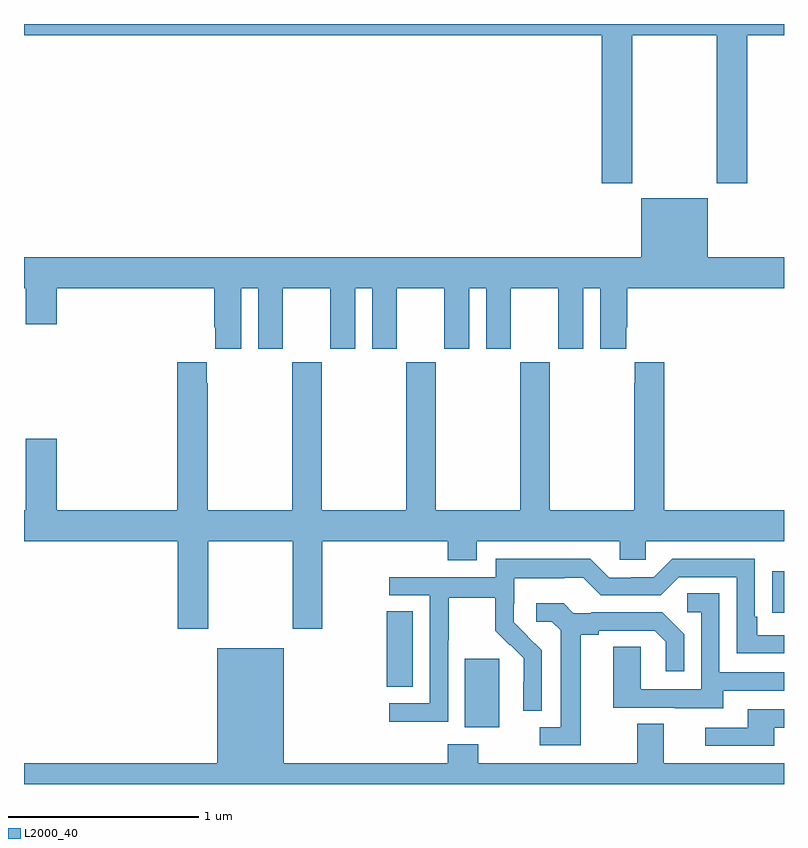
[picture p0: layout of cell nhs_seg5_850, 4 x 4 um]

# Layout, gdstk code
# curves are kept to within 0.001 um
import gdstk
lib = gdstk.Library(unit=1e-6, precision=1e-09)
def R(c, l, rs):  # rectangles x0, y0, x1, y1
    for r in rs: c.add(gdstk.rectangle(r[:2], r[2:], *l))
def P(c, l, *ps):  # polygons
    for p in ps: c.add(gdstk.Polygon(p, *l))
L2000_40 = (2000, 40)

nhs_seg5_850 = lib.new_cell('nhs_seg5_850')
R(nhs_seg5_850, L2000_40, [(167.321,873.098,167.5,873.459), (166.909,873.31,167.047,873.707), (168.937,873.7,169,873.919)])
P(nhs_seg5_850, L2000_40, [(168.201,876.74),(168.646,876.74),(168.646,875.961),(168.806,875.961),(168.806,876.74),(169,876.74),(169,876.799),(165,876.799),(165,876.74),(168.041,876.74),(168.041,875.961),(168.201,875.961)],
  [(166.144,875.408),(166.232,875.408),(166.232,875.091),(166.363,875.091),(166.363,875.408),(166.613,875.408),(166.613,875.091),(166.744,875.091),(166.744,875.408),(166.832,875.408),(166.832,875.091),(166.963,875.091),(166.963,875.408),(167.213,875.408),(167.213,875.091),(167.344,875.091),(167.344,875.408),(167.432,875.408),(167.432,875.091),(167.563,875.091),(167.563,875.408),(167.813,875.408),(167.813,875.091),(167.944,875.091),(167.944,875.408),(168.032,875.408),(168.032,875.091),(168.169,875.091),(168.169,875.203),(168.176,875.203),(168.176,875.408),(169,875.408),(169,875.572),(168.598,875.572),(168.598,875.881),(168.248,875.881),(168.248,875.572),(165,875.572),(165,875.408),(165.008,875.408),(165.008,875.22),(165.172,875.22),(165.172,875.408),(166.001,875.408),(166.001,875.203),(166.007,875.203),(166.007,875.091),(166.144,875.091)],
  [(165.969,874.076),(166.414,874.076),(166.414,873.615),(166.569,873.615),(166.569,874.076),(167.231,874.076),(167.231,873.977),(167.383,873.977),(167.383,874.076),(168.135,874.076),(168.135,873.978),(168.273,873.978),(168.273,874.076),(169,874.076),(169,874.24),(168.371,874.24),(168.371,875.02),(168.215,875.02),(168.215,874.907),(168.211,874.907),(168.211,874.24),(167.766,874.24),(167.766,875.02),(167.611,875.02),(167.611,874.24),(167.166,874.24),(167.166,875.02),(167.011,875.02),(167.011,874.24),(166.566,874.24),(166.566,875.02),(166.411,875.02),(166.411,874.24),(165.966,874.24),(165.966,874.907),(165.961,874.907),(165.961,875.02),(165.806,875.02),(165.806,874.24),(165.172,874.24),(165.172,874.615),(165.008,874.615),(165.008,874.24),(165,874.24),(165,874.076),(165.809,874.076),(165.809,873.615),(165.969,873.615)],
  [(167.232,873.556),(167.235,873.556),(167.235,873.78),(167.479,873.78),(167.479,873.605),(167.556,873.528),(167.559,873.531),(167.63,873.461),(167.63,873.338),(167.628,873.338),(167.628,873.184),(167.724,873.184),(167.724,873.502),(167.578,873.65),(167.578,873.747),(167.58,873.747),(167.58,873.881),(167.843,873.881),(167.843,873.885),(167.943,873.885),(168.036,873.792),(168.351,873.792),(168.447,873.888),(168.75,873.888),(168.75,873.486),(169,873.486),(169,873.582),(168.859,873.582),(168.859,873.679),(168.846,873.679),(168.846,873.984),(168.411,873.984),(168.315,873.888),(168.197,873.888),(168.197,873.885),(168.081,873.885),(167.981,873.985),(167.484,873.985),(167.484,873.888),(166.923,873.888),(166.923,873.792),(167.136,873.792),(167.136,873.225),(166.923,873.225),(166.923,873.127),(167.232,873.127)],
  [(168.679,873.291),(169,873.291),(169,873.387),(168.66,873.387),(168.66,873.803),(168.492,873.803),(168.492,873.702),(168.564,873.702),(168.564,873.297),(168.246,873.297),(168.246,873.521),(168.101,873.521),(168.101,873.201),(168.425,873.201),(168.425,873.197),(168.679,873.197)],
  [(167.929,873.584),(168.025,873.584),(168.025,873.606),(168.32,873.606),(168.377,873.549),(168.377,873.393),(168.474,873.393),(168.474,873.586),(168.358,873.702),(167.986,873.702),(167.986,873.699),(167.892,873.699),(167.84,873.751),(167.697,873.751),(167.697,873.654),(167.778,873.654),(167.825,873.607),(167.825,873.099),(167.715,873.099),(167.715,873.003),(167.929,873.003)],
  [(169,872.908),(168.367,872.908),(168.367,873.116),(168.227,873.116),(168.227,872.908),(167.391,872.908),(167.391,873.007),(167.231,873.007),(167.231,872.908),(166.366,872.908),(166.366,873.514),(166.016,873.514),(166.016,872.908),(165,872.908),(165,872.799),(169,872.799)],
  [(168.949,873.096),(169,873.096),(169,873.192),(168.809,873.192),(168.809,873.096),(168.585,873.096),(168.585,873),(168.949,873)])

lib.write_gds('nhs_seg5_850.gds')
